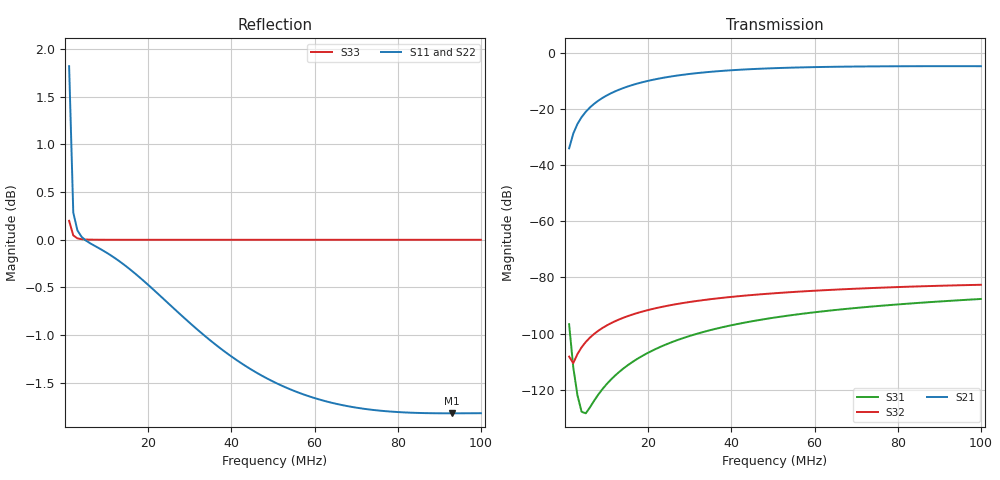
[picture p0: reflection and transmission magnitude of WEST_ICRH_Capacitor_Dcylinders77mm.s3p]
! Touchstone file exported from HFSS 2018.2.0
!  File:  E:/Julien/ICRH/WEST Antenna/Complete Numerical Antenna Model/WEST_ICRH_Capacitor.aedt
!  Generated:  2:57:36  janv. 09, 2019
!  Design:  WEST_ICRH_Voltage_Probes_depth_m5mm_optimetrics_silver_Part2
!  Project:  WEST_ICRH_Capacitor
!  Setup:  Setup1
!  Solution:  Sweep
! Variables:
!  D_cylinders = 77mm
!  D_cylinders_step = 110.908mm
!  d_half_wave = 2.56666666666667mm
!  d_mesh = 7mm
!  deemb1 = 150mm
!  deemb2 = 150mm
!  deemb3 = 100mm
!  depth = -5mm
!  diameter_bellows_fixed_center_1 = 76mm
!  diameter_bellows_fixed_center_2 = 72mm
!  diameter_bellows_fixed_left_1 = 76mm
!  diameter_bellows_fixed_left_2 = 71mm
!  diameter_big_wave = 74.925mm
!  diameter_cylinder_1 = 140mm
!  diameter_cylinder_2 = 110mm
!  diameter_cylinder_3 = 80mm
!  diameter_cylinder_4 = 50mm
!  diameter_cylinder_5 = 19.985mm
!  diameter_cylinders_fixed = 143mm
!  diameter_small_wave = 51mm
!  diametre_coax_external = 216mm
!  diametre_probe_cavity = 13mm
!  diametre_probe_external = 7mm
!  diametre_probe_head = 7mm
!  diametre_probe_internal = 3mm
!  length_bellows_fixed_center_1 = 4.1mm
!  length_bellows_fixed_center_2 = 6.042mm
!  length_bellows_fixed_left_1 = 4.1mm
!  length_bellows_fixed_left_2 = 13mm
!  length_cylinders = 45.5mm
!  length_cylinders_fixed = 7mm
!  length_probe = 114mm
!  length_probe_cavity = 23mm
!  length_probe_head = 9.5mm
!  parois_cavity_probe = 1mm
!  parois_probe = 1mm
!  thickness_cylinder_1 = 1.5mm
!  thickness_cylinder_2 = 1.5mm
!  thickness_cylinder_3 = 1.5mm
!  thickness_cylinder_4 = 1.5mm
!  top_probe = 14mm
!  y0_bellows1 = 223.3mm
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# GHZ S DB R 50.000000
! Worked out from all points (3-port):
!   100 points, 1 MHz to 100 MHz, reference 50 ohm
!   strongest paths, dB at 1 MHz, 26 MHz, 51 MHz, 76 MHz, 100 MHz:
!     S21: -34.0, -8.2, -5.3, -4.7, -4.7
!     S32: -108.2, -89.7, -85.6, -83.6, -82.6
!     S31: -96.7, -102.9, -94.2, -90.1, -87.7
!   lowest |S11| = -1.8 dB at 93 MHz (marker M1), VSWR 9.57, Z = 7.51 - j32.8 ohm
!   |S11| at or under -10 dB: nowhere
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0.001  1.82 -2.4  -33.96 86.9  -96.69 92.4
       -33.96 86.9  0.02 -2.0  -108.23 141.3
       -96.69 92.4  -108.23 141.3  0.20 2.0
0.002  0.29 -4.0  -28.69 85.9  -112.08 89.5
       -28.69 85.9  -0.00 -3.9  -110.54 96.3
       -112.08 89.5  -110.54 96.3  0.05 0.3
0.003  0.10 -6.0  -25.28 84.0  -121.99 96.6
       -25.28 84.0  -0.01 -5.9  -107.33 89.1
       -121.99 96.6  -107.33 89.1  0.01 0.0
0.005  -0.01 -9.9  -20.94 80.1  -128.45 145.3
       -20.94 80.1  -0.04 -9.7  -103.01 85.3
       -128.45 145.3  -103.01 85.3  0.00 -0.2
0.009  -0.11 -17.6  -16.00 72.5  -119.84 161.1
       -16.00 72.5  -0.11 -17.4  -98.03 81.1
       -119.84 161.1  -98.03 81.1  0.00 -0.5
0.014  -0.25 -27.0  -12.48 63.2  -112.53 152.8
       -12.48 63.2  -0.26 -26.6  -94.39 76.5
       -112.53 152.8  -94.39 76.5  0.00 -0.8
0.03  -0.87 -53.1  -7.42 37.3  -100.86 126.9
      -7.42 37.3  -0.87 -52.3  -88.75 64.4
      -100.86 126.9  -88.75 64.4  -0.00 -1.6
0.051  -1.51 -78.8  -5.34 11.9  -94.17 101.3
       -5.34 11.9  -1.51 -77.3  -85.57 53.8
       -94.17 101.3  -85.57 53.8  -0.00 -2.7
0.093  -1.82 -112.6  -4.66 -21.1  -88.29 67.9
       -4.66 -21.1  -1.83 -109.6  -82.85 40.7
       -88.29 67.9  -82.85 40.7  0.00 -5.0
0.1  -1.82 -117.0  -4.66 -25.3  -87.68 63.7
     -4.66 -25.3  -1.82 -113.6  -82.62 39.0
     -87.68 63.7  -82.62 39.0  0.00 -5.4
